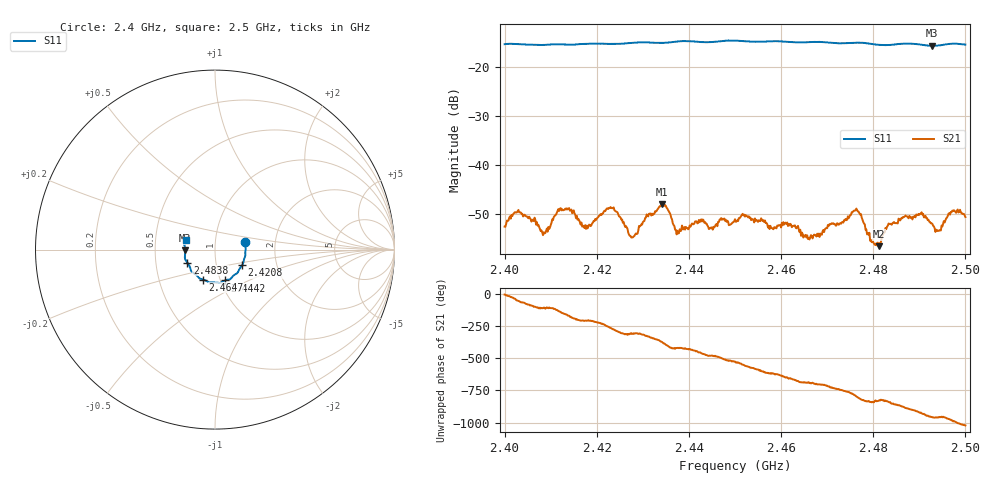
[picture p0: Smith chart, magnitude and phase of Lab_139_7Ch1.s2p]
# Hz S RI R 50
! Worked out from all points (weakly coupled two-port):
!   601 points, 2.4 GHz to 2.5 GHz, reference 50 ohm
!   highest |S21| = -48.03 dB at 2.4342 GHz (marker M1); lowest = -56.6 dB at 2.4812 GHz (marker M2)
!   lowest |S11| = -15.6 dB at 2.4928 GHz (marker M3), VSWR 1.40, Z = 35.8 - j0.341 ohm
!   |S11| at or under -10 dB: start of sweep to end of sweep
!   S12 and S22 are empty: the file has one direction only
!   S11 on the Smith chart (normalised r, x): 2.4 GHz: 1.40, +0.12; 2.4208 GHz: 1.33, -0.24; 2.4442 GHz: 1.05, -0.37; 2.4647 GHz: 0.83, -0.29; 2.4838 GHz: 0.73, -0.11; 2.5 GHz: 0.72, +0.08
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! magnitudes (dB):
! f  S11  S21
! 2.4 GHz  -15.3  -52.6
! 2.403 GHz  -15.2  -49.2
! 2.4088 GHz  -15.4  -53.9
! 2.4135 GHz  -15.3  -48.8
! 2.4167 GHz  -15.2  -51.7
! 2.4208 GHz  -15.2  -50.0
! 2.4235 GHz  -15.2  -48.8
! 2.4277 GHz  -15.0  -54.8
! 2.4333 GHz  -15.0  -48.9
! 2.4342 GHz  -15.0  -48.0
! 2.4375 GHz  -14.7  -53.4
! 2.4442 GHz  -14.9  -52.6
! 2.45 GHz  -14.5  -51.1
! 2.4647 GHz  -14.9  -54.0
! 2.4667 GHz  -14.8  -54.5
! 2.4763 GHz  -15.0  -48.9
! 2.4812 GHz  -15.4  -56.6
! 2.4833 GHz  -15.4  -51.9
! 2.4838 GHz  -15.4  -52.0
! 2.4903 GHz  -15.4  -49.9
! 2.4928 GHz  -15.6  -52.0
! 2.5 GHz  -15.3  -50.6
